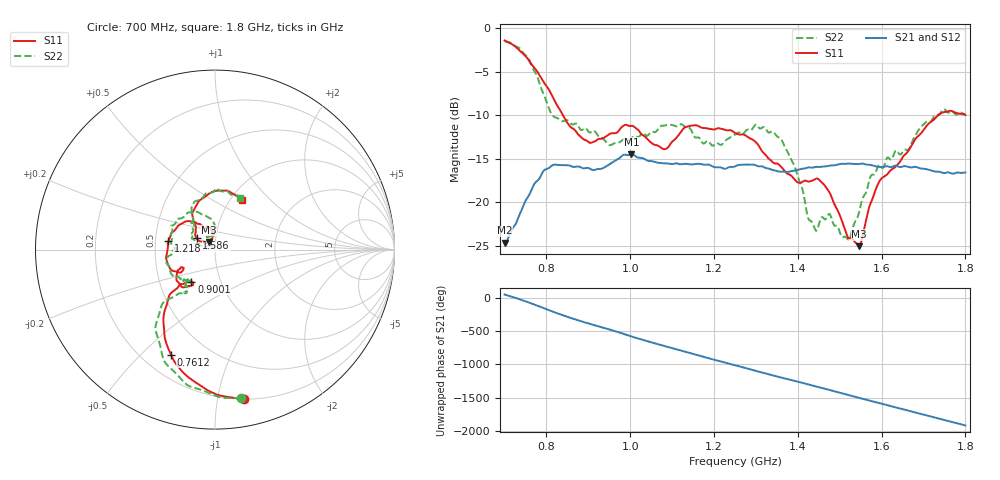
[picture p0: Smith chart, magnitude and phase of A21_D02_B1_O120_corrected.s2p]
! Created with skrf 1.9.0 (http://scikit-rf.org).
# Hz S RI R 50.0
!freq ReS11 ImS11 ReS21 ImS21 ReS12 ImS12 ReS22 ImS22
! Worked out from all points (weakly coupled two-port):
!   1601 points, 700 MHz to 1.8 GHz, reference 50 ohm
!   highest |S21| = -14.49 dB at 1.002 GHz (marker M1); lowest = -24.6 dB at 700 MHz (marker M2)
!   lowest |S11| = -25.0 dB at 1.546 GHz (marker M3), VSWR 1.12, Z = 46.4 + j4.01 ohm
!   |S11| at or under -10 dB: 839.1 MHz to 1.735 GHz (895.6 MHz wide, 69.6 % of centre)
!   |S22| runs from -24.3 to -1.5 dB; largest |S21 - S12| = 0.0035
!   S11 on the Smith chart (normalised r, x): 700 MHz: 0.20, -1.19; 761.2 MHz: 0.32, -0.62; 900.1 MHz: 0.72, -0.27; 1.218 GHz: 0.59, +0.06; 1.586 GHz: 0.81, +0.10; 1.8 GHz: 1.12, +0.70
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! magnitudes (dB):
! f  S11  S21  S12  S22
! 700 MHz  -1.4  -24.6  -24.4  -1.5
! 761.2 MHz  -4.0  -18.9  -18.8  -3.9
! 814.1 MHz  -7.9  -15.7  -15.8  -10.0
! 883.6 MHz  -12.6  -16.0  -15.9  -11.7
! 900.1 MHz  -13.1  -16.1  -16.1  -11.9
! 950.9 MHz  -12.1  -15.6  -15.6  -13.4
! 1.002 GHz  -11.2  -14.5  -14.6  -12.7
! 1.067 GHz  -13.5  -15.5  -15.4  -11.5
! 1.138 GHz  -11.3  -15.6  -15.6  -11.4
! 1.218 GHz  -11.6  -16.0  -16.0  -13.4
! 1.25 GHz  -12.0  -15.9  -15.8  -12.2
! 1.3 GHz  -13.1  -15.8  -15.8  -11.1
! 1.359 GHz  -15.9  -16.5  -16.5  -12.7
! 1.394 GHz  -17.5  -16.3  -16.3  -16.0
! 1.434 GHz  -17.5  -16.0  -16.0  -22.3
! 1.471 GHz  -18.6  -15.8  -15.8  -21.5
! 1.52 GHz  -24.1  -15.6  -15.6  -24.3
! 1.546 GHz  -25.0  -15.6  -15.6  -21.1
! 1.586 GHz  -18.5  -15.9  -15.9  -16.5
! 1.617 GHz  -16.6  -15.9  -15.9  -14.9
! 1.737 GHz  -9.9  -16.5  -16.5  -10.0
! 1.8 GHz  -10.0  -16.6  -16.6  -9.9
